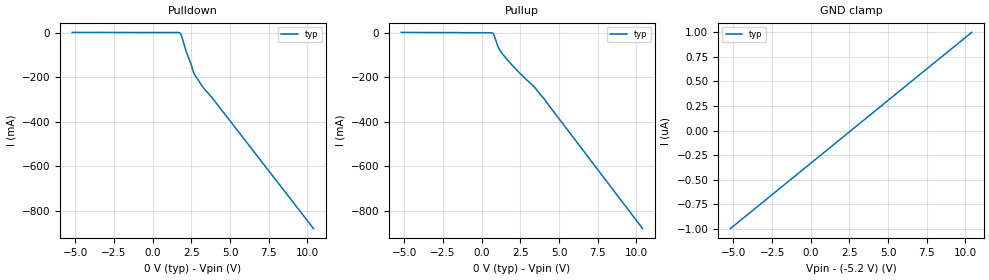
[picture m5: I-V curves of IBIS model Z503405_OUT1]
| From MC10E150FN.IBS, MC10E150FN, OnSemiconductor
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| (C) COPYRIGHT 1993-2000
| MENTOR GRAPHICS CORPORATION
| ICX STANDARD LIBRARY, ICX PROJECT MODELING,
| ICX CUSTOM MODELING, ICX VENDOR MODEL
| ALL RIGHTS RESERVED.
| THE FOLLOWING ARE TRADEMARKS OR SERVICE MARKS OF
| MENTOR GRAPHICS CORPORATION:ICX (R), ICX STANDARD
| LIBRARY(R), ICX PROJECT MODELING(R), ICX CUSTOM
| MODELING(R), qualityIBIS(TM), MODELVIEWER(TM),
| AND MODELEDITOR(TM)
| ALL COPIES OF SOFTWARE, INCLUDING BUT NOT LIMITED TO
| ANY MODIFICATIONS, ENHANCEMENTS OR DERIVATIVE WORKS,
| MUST CONTAIN ALL MENTOR GRAPHICS CORPORATION'S
| NOTICES AND LEGENDS, INCLUDING THOSE EMBEDDED IN
| SOFTWARE AND THOSE AFFIXED TO SOFTWARE MEDIUM
| AND CONTAINER, AS RECEIVED FROM MENTOR GRAPHICS
| CORPORATION.
| Model Application Version 1.89 2/18/99.
[Model] Z503405_OUT1
Model_type Output_ECL
Vref=-2.000V
Rref=50.00ohms
Cref=0.000F
Vmeas=-1.305V
C_comp 8.000pF NA NA
| variable typ   min   max
[Voltage Range] -5.200V NA NA
[POWER Clamp Reference] 0.000V NA NA
[Pullup Reference] 0.000V NA NA
[Pulldown Reference] 0.000V NA NA
[GND Clamp Reference] -5.200V NA NA
[GND Clamp]
-5.2V     -1uA       NA         NA
10.4V     1uA        NA         NA
[Pulldown]
-5.2V     548.8uA    NA         NA
1.626V    19.5uA     NA         NA
1.782V    -2.988mA   NA         NA
1.851V    -11.78mA   NA         NA
2.168V    -85.09mA   NA         NA
2.471V    -140.2mA   NA         NA
2.627V    -176.2mA   NA         NA
2.783V    -197.5mA   NA         NA
3.178V    -239.2mA   NA         NA
3.805V    -289.5mA   NA         NA
10.4V     -880mA     NA         NA
[Pullup]
-5.2V     1.395mA    NA         NA
567.4mV   -56.49uA   NA         NA
726.4mV   -2.896mA   NA         NA
795.1mV   -11.32mA   NA         NA
1.055V    -63.4mA    NA         NA
1.358V    -96.78mA   NA         NA
2.315V    -171.6mA   NA         NA
3.339V    -239.1mA   NA         NA
4.071V    -300.1mA   NA         NA
10.4V     -880.1mA   NA         NA
[POWER Clamp]
-5.2V     0A         NA         NA
10.4V     0A         NA         NA
[Ramp]
| variable typ min max
dV/dt_r 600.5m/311.5p NA NA
dV/dt_f 600.5m/314.4p NA NA
R_load = 500.0Ohms
